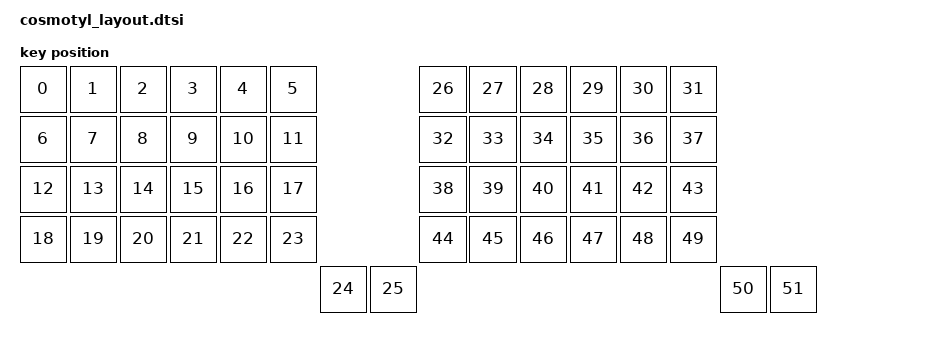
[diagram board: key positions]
#include <physical_layouts.dtsi>
/ {
    cosmotyl_layout: cosmotyl_layout {
        compatible = "zmk,physical-layout";
        display-name = "Cosmotyl";

        // Tastenattribute: Breite, Höhe, X-Position, Y-Position, Rotation, RX, RY
        keys = <
            // Linke Hälfte
            &key_physical_attrs 100 100 0   0   0 0 0  // R0C0
            &key_physical_attrs 100 100 100 0   0 0 0  // R0C1
            &key_physical_attrs 100 100 200 0   0 0 0  // R0C2
            &key_physical_attrs 100 100 300 0   0 0 0  // R0C3
            &key_physical_attrs 100 100 400 0   0 0 0  // R0C4
            &key_physical_attrs 100 100 500 0   0 0 0  // R0C5

            &key_physical_attrs 100 100 0   100 0 0 0  // R1C0
            &key_physical_attrs 100 100 100 100 0 0 0  // R1C1
            &key_physical_attrs 100 100 200 100 0 0 0  // R1C2
            &key_physical_attrs 100 100 300 100 0 0 0  // R1C3
            &key_physical_attrs 100 100 400 100 0 0 0  // R1C4
            &key_physical_attrs 100 100 500 100 0 0 0  // R1C5

            &key_physical_attrs 100 100 0   200 0 0 0  // R2C0
            &key_physical_attrs 100 100 100 200 0 0 0  // R2C1
            &key_physical_attrs 100 100 200 200 0 0 0  // R2C2
            &key_physical_attrs 100 100 300 200 0 0 0  // R2C3
            &key_physical_attrs 100 100 400 200 0 0 0  // R2C4
            &key_physical_attrs 100 100 500 200 0 0 0  // R2C5

            &key_physical_attrs 100 100 0   300 0 0 0  // R3C0
            &key_physical_attrs 100 100 100 300 0 0 0  // R3C1
            &key_physical_attrs 100 100 200 300 0 0 0  // R3C2
            &key_physical_attrs 100 100 300 300 0 0 0  // R3C3
            &key_physical_attrs 100 100 400 300 0 0 0  // R3C4
            &key_physical_attrs 100 100 500 300 0 0 0  // R3C5

            &key_physical_attrs 100 100 600 400 0 0 0  // Daumentaste 1 (Links)
            &key_physical_attrs 100 100 700 400 0 0 0  // Daumentaste 2 (Links)

            // Rechte Hälfte (Spiegelung der linken Hälfte)
            &key_physical_attrs 100 100 800 0   0 0 0  // R0C6
            &key_physical_attrs 100 100 900 0   0 0 0  // R0C7
            &key_physical_attrs 100 100 1000 0  0 0 0  // R0C8
            &key_physical_attrs 100 100 1100 0  0 0 0  // R0C9
            &key_physical_attrs 100 100 1200 0  0 0 0  // R0C10
            &key_physical_attrs 100 100 1300 0  0 0 0  // R0C11

            &key_physical_attrs 100 100 800 100 0 0 0  // R1C6
            &key_physical_attrs 100 100 900 100 0 0 0  // R1C7
            &key_physical_attrs 100 100 1000 100 0 0 0 // R1C8
            &key_physical_attrs 100 100 1100 100 0 0 0 // R1C9
            &key_physical_attrs 100 100 1200 100 0 0 0 // R1C10
            &key_physical_attrs 100 100 1300 100 0 0 0 // R1C11

            &key_physical_attrs 100 100 800 200 0 0 0  // R2C6
            &key_physical_attrs 100 100 900 200 0 0 0  // R2C7
            &key_physical_attrs 100 100 1000 200 0 0 0 // R2C8
            &key_physical_attrs 100 100 1100 200 0 0 0 // R2C9
            &key_physical_attrs 100 100 1200 200 0 0 0 // R2C10
            &key_physical_attrs 100 100 1300 200 0 0 0 // R2C11

            &key_physical_attrs 100 100 800 300 0 0 0  // R3C6
            &key_physical_attrs 100 100 900 300 0 0 0  // R3C7
            &key_physical_attrs 100 100 1000 300 0 0 0 // R3C8
            &key_physical_attrs 100 100 1100 300 0 0 0 // R3C9
            &key_physical_attrs 100 100 1200 300 0 0 0 // R3C10
            &key_physical_attrs 100 100 1300 300 0 0 0 // R3C11

            &key_physical_attrs 100 100 1400 400 0 0 0 // Daumentaste 1 (Rechts)
            &key_physical_attrs 100 100 1500 400 0 0 0 // Daumentaste 2 (Rechts)
        >;
    };
};
